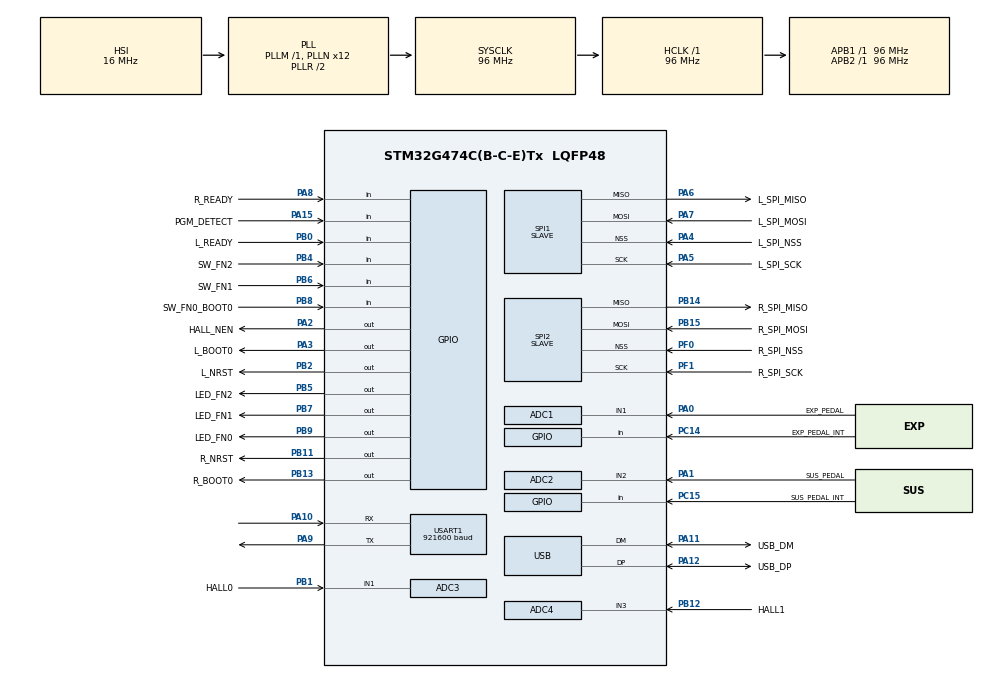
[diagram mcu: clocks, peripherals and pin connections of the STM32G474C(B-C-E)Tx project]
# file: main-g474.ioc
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ADC1.Channel-0\#ChannelRegularConversion=ADC_CHANNEL_1
ADC1.NbrOfConversionFlag=1
ADC1.OffsetNumber-0\#ChannelRegularConversion=ADC_OFFSET_NONE
ADC1.Rank-0\#ChannelRegularConversion=1
ADC1.SamplingTime-0\#ChannelRegularConversion=ADC_SAMPLETIME_2CYCLES_5
ADC1.master=1
ADC2.Channel-0\#ChannelRegularConversion=ADC_CHANNEL_2
ADC2.NbrOfConversionFlag=1
ADC2.OffsetNumber-0\#ChannelRegularConversion=ADC_OFFSET_NONE
ADC2.Rank-0\#ChannelRegularConversion=1
ADC2.SamplingTime-0\#ChannelRegularConversion=ADC_SAMPLETIME_2CYCLES_5
ADC3.Channel-0\#ChannelRegularConversion=ADC_CHANNEL_1
ADC3.NbrOfConversionFlag=1
ADC3.OffsetNumber-0\#ChannelRegularConversion=ADC_OFFSET_NONE
ADC3.Rank-0\#ChannelRegularConversion=1
ADC3.SamplingTime-0\#ChannelRegularConversion=ADC_SAMPLETIME_2CYCLES_5
ADC3.master=1
ADC4.Channel-0\#ChannelRegularConversion=ADC_CHANNEL_3
ADC4.NbrOfConversionFlag=1
ADC4.OffsetNumber-0\#ChannelRegularConversion=ADC_OFFSET_NONE
ADC4.Rank-0\#ChannelRegularConversion=1
ADC4.SamplingTime-0\#ChannelRegularConversion=ADC_SAMPLETIME_2CYCLES_5
Dma.Request0=SPI1_RX
Dma.Request1=SPI2_RX
Dma.SPI1_RX.0.Direction=DMA_PERIPH_TO_MEMORY
Dma.SPI1_RX.0.EventEnable=DISABLE
Dma.SPI1_RX.0.Instance=DMA1_Channel1
Dma.SPI1_RX.0.MemDataAlignment=DMA_MDATAALIGN_HALFWORD
Dma.SPI1_RX.0.MemInc=DMA_MINC_ENABLE
Dma.SPI1_RX.0.Mode=DMA_NORMAL
Dma.SPI1_RX.0.PeriphDataAlignment=DMA_PDATAALIGN_HALFWORD
Dma.SPI1_RX.0.PeriphInc=DMA_PINC_DISABLE
Dma.SPI1_RX.0.Polarity=HAL_DMAMUX_REQ_GEN_RISING
Dma.SPI1_RX.0.Priority=DMA_PRIORITY_LOW
Dma.SPI1_RX.0.RequestNumber=1
Dma.SPI1_RX.0.SignalID=NONE
Dma.SPI1_RX.0.SyncEnable=DISABLE
Dma.SPI1_RX.0.SyncPolarity=HAL_DMAMUX_SYNC_NO_EVENT
Dma.SPI1_RX.0.SyncRequestNumber=1
Dma.SPI1_RX.0.SyncSignalID=NONE
Dma.SPI2_RX.1.Direction=DMA_PERIPH_TO_MEMORY
Dma.SPI2_RX.1.EventEnable=DISABLE
Dma.SPI2_RX.1.Instance=DMA1_Channel2
Dma.SPI2_RX.1.MemDataAlignment=DMA_MDATAALIGN_HALFWORD
Dma.SPI2_RX.1.MemInc=DMA_MINC_ENABLE
Dma.SPI2_RX.1.Mode=DMA_NORMAL
Dma.SPI2_RX.1.PeriphDataAlignment=DMA_PDATAALIGN_HALFWORD
Dma.SPI2_RX.1.PeriphInc=DMA_PINC_DISABLE
Dma.SPI2_RX.1.Polarity=HAL_DMAMUX_REQ_GEN_RISING
Dma.SPI2_RX.1.Priority=DMA_PRIORITY_LOW
Dma.SPI2_RX.1.RequestNumber=1
Dma.SPI2_RX.1.SignalID=NONE
Dma.SPI2_RX.1.SyncEnable=DISABLE
Dma.SPI2_RX.1.SyncPolarity=HAL_DMAMUX_SYNC_NO_EVENT
Dma.SPI2_RX.1.SyncRequestNumber=1
Dma.SPI2_RX.1.SyncSignalID=NONE
Mcu.Family=STM32G4
Mcu.Name=STM32G474C(B-C-E)Tx
Mcu.Package=LQFP48
NVIC.DMA1_Channel1_IRQn=true\:0\:0\:false\:false\:true\:false\:true\:true
NVIC.DMA1_Channel2_IRQn=true\:0\:0\:false\:false\:true\:false\:true\:true
NVIC.PriorityGroup=NVIC_PRIORITYGROUP_4
NVIC.SPI1_IRQn=true\:0\:0\:false\:false\:true\:true\:true\:true
NVIC.SPI2_IRQn=true\:0\:0\:false\:false\:true\:true\:true\:true
NVIC.USART1_IRQn=true\:0\:0\:false\:false\:true\:true\:true\:true
PA0.GPIO_Label=EXP_PEDAL
PA0.Mode=IN1-Single-Ended
PA0.Signal=ADC1_IN1
PA1.GPIO_Label=SUS_PEDAL
PA1.Mode=IN2-Single-Ended
PA1.Signal=ADC2_IN2
PA10.Mode=Asynchronous
PA10.Signal=USART1_RX
PA11.GPIO_Label=USB_DM
PA11.Mode=Device
PA11.Signal=USB_DM
PA12.GPIO_Label=USB_DP
PA12.Mode=Device
PA12.Signal=USB_DP
PA13.Mode=Trace_Asynchronous_SW
PA13.Signal=SYS_JTMS-SWDIO
PA14.Mode=Trace_Asynchronous_SW
PA14.Signal=SYS_JTCK-SWCLK
PA15.GPIO_Label=PGM_DETECT
PA15.GPIO_PuPd=GPIO_PULLUP
PA15.Signal=GPIO_Input
PA2.GPIO_Label=HALL_NEN
PA2.GPIO_ModeDefaultOutputPP=GPIO_MODE_OUTPUT_OD
PA2.GPIO_PuPd=GPIO_NOPULL
PA2.PinState=GPIO_PIN_SET
PA2.Signal=GPIO_Output
PA3.GPIO_Label=L_BOOT0
PA3.GPIO_ModeDefaultOutputPP=GPIO_MODE_OUTPUT_PP
PA3.GPIO_PuPd=GPIO_NOPULL
PA3.Signal=GPIO_Output
PA4.GPIO_Label=L_SPI_NSS
PA4.GPIO_PuPd=GPIO_PULLUP
PA4.Mode=NSS_Signal_Hard_Input
PA4.Signal=SPI1_NSS
PA5.GPIO_Label=L_SPI_SCK
PA5.Mode=Full_Duplex_Slave
PA5.Signal=SPI1_SCK
PA6.GPIO_Label=L_SPI_MISO
PA6.GPIO_PuPd=GPIO_PULLUP
PA6.Mode=Full_Duplex_Slave
PA6.Signal=SPI1_MISO
PA7.GPIO_Label=L_SPI_MOSI
PA7.Mode=Full_Duplex_Slave
PA7.Signal=SPI1_MOSI
PA8.GPIO_Label=R_READY
PA8.GPIO_PuPd=GPIO_PULLDOWN
PA8.Signal=GPIO_Input
PA9.Mode=Asynchronous
PA9.Signal=USART1_TX
PB0.GPIO_Label=L_READY
PB0.GPIO_PuPd=GPIO_PULLDOWN
PB0.Signal=GPIO_Input
PB1.GPIO_Label=HALL0
PB1.Mode=IN1-Single-Ended
PB1.Signal=ADC3_IN1
PB11.GPIO_Label=R_NRST
PB11.GPIO_ModeDefaultOutputPP=GPIO_MODE_OUTPUT_OD
PB11.GPIO_PuPd=GPIO_NOPULL
PB11.PinState=GPIO_PIN_SET
PB11.Signal=GPIO_Output
PB12.GPIO_Label=HALL1
PB12.Mode=IN3-Single-Ended
PB12.Signal=ADC4_IN3
PB13.GPIO_Label=R_BOOT0
PB13.Signal=GPIO_Output
PB14.GPIO_Label=R_SPI_MISO
PB14.GPIO_PuPd=GPIO_PULLUP
PB14.Mode=Full_Duplex_Slave
PB14.Signal=SPI2_MISO
PB15.GPIO_Label=R_SPI_MOSI
PB15.GPIO_PuPd=GPIO_NOPULL
PB15.Mode=Full_Duplex_Slave
PB15.Signal=SPI2_MOSI
PB2.GPIO_Label=L_NRST
PB2.GPIO_ModeDefaultOutputPP=GPIO_MODE_OUTPUT_OD
PB2.GPIO_PuPd=GPIO_NOPULL
PB2.PinState=GPIO_PIN_SET
PB2.Signal=GPIO_Output
PB3.Mode=Trace_Asynchronous_SW
PB3.Signal=SYS_JTDO-SWO
PB4.GPIO_Label=SW_FN2
PB4.GPIO_PuPd=GPIO_PULLUP
PB4.Signal=GPIO_Input
PB5.GPIO_Label=LED_FN2
PB5.Signal=GPIO_Output
PB6.GPIO_Label=SW_FN1
PB6.GPIO_PuPd=GPIO_PULLUP
PB6.Signal=GPIO_Input
PB7.GPIO_Label=LED_FN1
PB7.Signal=GPIO_Output
PB8-BOOT0.GPIO_Label=SW_FN0_BOOT0
PB8-BOOT0.Signal=GPIO_Input
PB9.GPIO_Label=LED_FN0
PB9.Signal=GPIO_Output
PC14-OSC32_IN.GPIO_Label=EXP_PEDAL_INT
PC14-OSC32_IN.GPIO_PuPd=GPIO_PULLDOWN
PC14-OSC32_IN.Signal=GPIO_Input
PC15-OSC32_OUT.GPIO_Label=SUS_PEDAL_INT
PC15-OSC32_OUT.GPIO_PuPd=GPIO_PULLDOWN
PC15-OSC32_OUT.Signal=GPIO_Input
PF0-OSC_IN.GPIO_Label=R_SPI_NSS
PF0-OSC_IN.GPIO_PuPd=GPIO_PULLUP
PF0-OSC_IN.Mode=NSS_Signal_Hard_Input
PF0-OSC_IN.Signal=SPI2_NSS
PF1-OSC_OUT.GPIO_Label=R_SPI_SCK
PF1-OSC_OUT.Mode=Full_Duplex_Slave
PF1-OSC_OUT.Signal=SPI2_SCK
ProjectManager.HeapSize=0x200
ProjectManager.StackSize=0x400
ProjectManager.TargetToolchain=CMake
RCC.ADC12Freq_Value=96000000
RCC.ADC345Freq_Value=96000000
RCC.AHBFreq_Value=96000000
RCC.APB1Freq_Value=96000000
RCC.APB1TimFreq_Value=96000000
RCC.APB2Freq_Value=96000000
RCC.APB2TimFreq_Value=96000000
RCC.CK48CLockSelection=RCC_USBCLKSOURCE_HSI48
RCC.CortexFreq_Value=96000000
RCC.EXTERNAL_CLOCK_VALUE=12288000
RCC.HCLKFreq_Value=96000000
RCC.HSE_VALUE=8000000
RCC.HSI48_VALUE=48000000
RCC.HSI_VALUE=16000000
RCC.LSE_VALUE=32768
RCC.PLLN=12
RCC.PLLQ=RCC_PLLQ_DIV4
RCC.SYSCLKFreq_VALUE=96000000
RCC.SYSCLKSource=RCC_SYSCLKSOURCE_PLLCLK
RCC.USBFreq_Value=48000000
RCC.VCOOutputFreq_Value=192000000
SPI1.CRCCalculation=SPI_CRCCALCULATION_ENABLE
SPI1.CRCLength=SPI_CRC_LENGTH_16BIT
SPI1.CRCPolynomial=X0+X1+X2
SPI1.DataSize=SPI_DATASIZE_16BIT
SPI1.Direction=SPI_DIRECTION_2LINES
SPI1.Mode=SPI_MODE_SLAVE
SPI1.VirtualNSS=VM_NSSHARD
SPI1.VirtualType=VM_SLAVE
SPI2.CRCCalculation=SPI_CRCCALCULATION_ENABLE
SPI2.CRCLength=SPI_CRC_LENGTH_16BIT
SPI2.DataSize=SPI_DATASIZE_16BIT
SPI2.Direction=SPI_DIRECTION_2LINES
SPI2.Mode=SPI_MODE_SLAVE
SPI2.VirtualNSS=VM_NSSHARD
SPI2.VirtualType=VM_SLAVE
USART1.BaudRate=921600
USART1.VirtualMode-Asynchronous=VM_ASYNC
VP_RCC_VS_USB.Mode=USB_FS
VP_SYS_VS_DBSignals.Mode=DisableDeadBatterySignals
board=custom

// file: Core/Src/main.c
/* USER CODE BEGIN Header */
/**
  ******************************************************************************
  * @file           : main.c
  * @brief          : Main program body
  ******************************************************************************
  * @attention
  *
  * Copyright (c) 2026 STMicroelectronics.
  * All rights reserved.
  *
  * This software is licensed under terms that can be found in the LICENSE file
  * in the root directory of this software component.
  * If no LICENSE file comes with this software, it is provided AS-IS.
  *
  ******************************************************************************
  */
/* USER CODE END Header */
#include "main.h"

/* USER CODE BEGIN Includes */
#include <stdio.h>
#include <stdlib.h>
#include <string.h>
#include "console.h"
#include "usb_app.h"
#include "spi_link.h"
#include "keyboard/keyboard_layout.h"

/* USER CODE END Includes */

ADC_HandleTypeDef hadc1;
ADC_HandleTypeDef hadc2;
ADC_HandleTypeDef hadc3;
ADC_HandleTypeDef hadc4;

SPI_HandleTypeDef hspi1;
SPI_HandleTypeDef hspi2;
DMA_HandleTypeDef hdma_spi1_rx;
DMA_HandleTypeDef hdma_spi2_rx;

UART_HandleTypeDef huart1;

PCD_HandleTypeDef hpcd_USB_FS;

void SystemClock_Config(void);
static void MX_GPIO_Init(void);
static void MX_DMA_Init(void);
static void MX_ADC1_Init(void);
static void MX_ADC2_Init(void);
static void MX_ADC3_Init(void);
static void MX_ADC4_Init(void);
static void MX_SPI1_Init(void);
static void MX_SPI2_Init(void);
static void MX_USART1_UART_Init(void);
static void MX_USB_PCD_Init(void);

/* USER CODE BEGIN 0 */

static void delay_us(uint32_t us)
{
  uint32_t cycles = us * (SystemCoreClock / 1000000U);
  uint32_t start = DWT->CYCCNT;
  while ((DWT->CYCCNT - start) < cycles);
}

/* Sends a string over SWO ITM port 0; no-op if no debugger has enabled tracing */
static void swo_print(const char *s)
{
  while (*s)
  {
    if ((ITM->TCR & ITM_TCR_ITMENA_Msk) && (ITM->TER & (1UL << 0)))
    {
      while (ITM->PORT[0].u32 == 0);
      ITM->PORT[0].u8 = (uint8_t)*s;
    }
    s++;
  }
}

/* ===== Wing keyboard link (SPI slave) ===================================== *
 * Each wing streams a fixed SPI_LINK_FRAME_WORDS frame (see spi_link.h): word
 * 0 is the wing id, words 1.. are the raw hall measurement per key. SPI1 is
 * wired to the left wing, SPI2 to the right (L_SPI_ / R_SPI_ pins), but the
 * wing id in the frame is authoritative for note mapping. Reception is
 * DMA-driven (interrupt fallback), re-armed from the main loop on the NSS idle
 * gap (the only point that word-aligns); bad (CRC/overrun/misaligned) frames
 * are dropped and counted. */

/* Press/release hysteresis: a hall reading falls as a key is pressed and rises
 * back as it is released. release_threshold > press_threshold gives a dead band
 * so a key resting near the trip point doesn't chatter. */
#define KEYBOARD_PRESS_THRESHOLD   1900
#define KEYBOARD_RELEASE_THRESHOLD 2100

/* The bandoneon is bisonoric: each key sounds a different note on push vs pull.
 * g_bellows holds that direction and g_bellow_intensity (0..1024) how hard the
 * bellows is being pushed or pulled; both are derived from the combined hall
 * reading (hall0+hall1) by bellows_update() in the main loop. */
static bellows_t g_bellows = BELLOWS_NEUTRAL;
static uint16_t g_bellow_intensity = 0;

/* Combined-hall calibration: center is the at-rest reading, hard push/pull
 * the readings at full travel. The deadzone sets how far from center the
 * bellows must move to leave BELLOWS_NEUTRAL (no air moves there, so
 * note_table maps every key to NOTE_NONE). The hysteresis margin then has to
 * be given back before returning to NEUTRAL, so a bellows resting right at
 * the deadzone edge doesn't chatter between NEUTRAL and PUSH/PULL. */
#define BELLOWS_CENTER     3775
#define BELLOWS_DEADZONE   40
#define BELLOWS_HYSTERESIS 20
#define BELLOWS_HARD_PUSH  3400
#define BELLOWS_HARD_PULL  4200

/* Updates g_bellows/g_bellow_intensity from the combined hall reading.
 * In NEUTRAL, intensity is 0 and direction holds until the reading passes the
 * deadzone edge. In PUSH/PULL, intensity scales linearly from the deadzone
 * edge to the hard push/pull reading (clamped to 1024: 0 is barely moving
 * air, 1024 is full force), and direction holds until the reading comes back
 * past the deadzone edge by BELLOWS_HYSTERESIS. */
static void bellows_update(uint32_t hall_total)
{
  uint32_t push_edge = BELLOWS_CENTER - BELLOWS_DEADZONE;
  uint32_t pull_edge = BELLOWS_CENTER + BELLOWS_DEADZONE;

  switch (g_bellows)
  {
    case BELLOWS_PUSH:
      if (hall_total >= push_edge + BELLOWS_HYSTERESIS) g_bellows = BELLOWS_NEUTRAL;
      break;
    case BELLOWS_PULL:
      if (hall_total <= pull_edge - BELLOWS_HYSTERESIS) g_bellows = BELLOWS_NEUTRAL;
      break;
    default:
      if (hall_total < push_edge) g_bellows = BELLOWS_PUSH;
      else if (hall_total > pull_edge) g_bellows = BELLOWS_PULL;
      break;
  }

  if (g_bellows == BELLOWS_PUSH)
  {
    uint32_t span = push_edge - BELLOWS_HARD_PUSH;
    uint32_t d = hall_total < push_edge ? push_edge - hall_total : 0;
    g_bellow_intensity = (uint16_t)(d >= span ? 1024 : (d * 1024) / span);
  }
  else if (g_bellows == BELLOWS_PULL)
  {
    uint32_t span = BELLOWS_HARD_PULL - pull_edge;
    uint32_t d = hall_total > pull_edge ? hall_total - pull_edge : 0;
    g_bellow_intensity = (uint16_t)(d >= span ? 1024 : (d * 1024) / span);
  }
  else
  {
    g_bellow_intensity = 0;
  }
}

/* CC#11 (Expression) hysteresis, in the same 0..1024 units as
 * g_bellow_intensity: only resent once intensity has moved by at least this
 * much, so sensor noise doesn't flood the link with near-identical CCs. */
#define BELLOWS_CC_HYSTERESIS 64

/* Caps how often CC#11 is sent, independent of the hysteresis check, so a
 * fast-moving bellows can't flood the link beyond what a host needs. */
#define BELLOWS_CC_PERIOD_MS (1000 / 100) /* 100 Hz */

/* Sends CC#11 (Expression) from g_bellow_intensity, scaled to 0..127, when it
 * has moved by at least BELLOWS_CC_HYSTERESIS since the last send (or on the
 * first call) and at most every BELLOWS_CC_PERIOD_MS. Call once per main loop
 * iteration after bellows_update(). */
static void bellows_send_cc(void)
{
  static uint16_t last_intensity;
  static uint8_t have_last;
  static uint32_t last_tick;

  uint32_t now = HAL_GetTick();
  if (have_last && (now - last_tick) < BELLOWS_CC_PERIOD_MS) return;

  uint16_t intensity = g_bellow_intensity;
  uint16_t delta = intensity > last_intensity ? intensity - last_intensity : last_intensity - intensity;
  if (!have_last || delta >= BELLOWS_CC_HYSTERESIS)
  {
    last_intensity = intensity;
    last_tick = now;
    have_last = 1;
    usb_app_midi_control_change(11, (uint8_t)((intensity * 127) / 1024));
  }
}

typedef struct
{
  SPI_HandleTypeDef *hspi;
  const char *name;
  GPIO_TypeDef *nss_port;   /* NSS line, read to find the inter-frame gap */
  uint16_t nss_pin;

  /* Double buffer: the ISR fills rx[rx_active]; on completion it flips and
   * hands the finished buffer to the main loop via ready/ready_buf. */
  uint16_t rx[2][SPI_LINK_FRAME_WORDS];
  volatile uint8_t rx_active;
  volatile uint8_t ready;
  volatile uint8_t ready_buf;
  volatile uint8_t needs_resync;

  /* Per-reception outcome counters (updated in interrupt context). Every
   * reception is classified as exactly one of these, so
   * good + misaligned + crc_err + bus_err = total receptions:
   *   good       - completed and word 0 is a known wing id -> decoded
   *   misaligned - completed but word 0 is NOT a wing id (the 16-bit word
   *                boundaries don't line up with the wing's frame; the
   *                hardware CRC did not reject it) -> dropped
   *   crc_err    - HAL reported a CRC mismatch
   *   bus_err    - HAL reported overrun / mode / frame error */
  volatile uint32_t rx_good;
  volatile uint32_t rx_misaligned;
  volatile uint32_t crc_err;
  volatile uint32_t bus_err;
  volatile uint8_t  last_good_wing;  /* word 0 of the last good reception */
  volatile uint16_t last_bad_word0;  /* word 0 of the last misaligned reception */

  /* Per-key decode state (main-loop only). key_pressed tracks the physical
   * hall state; sounding_note is NOTE_NONE unless a NOTE ON has been sent for
   * that key without a matching NOTE OFF yet (key_pressed alone isn't enough
   * since a key can be held through a bellows direction change). */
  uint16_t key_min[SPI_LINK_NUM_KEYS];
  uint8_t  key_min_init;
  uint8_t  key_pressed[SPI_LINK_NUM_KEYS];
  uint8_t  sounding_note[SPI_LINK_NUM_KEYS];

  /* Snapshots for the 1 Hz rate report and the throttled error log. */
  uint32_t last_good, last_misaligned, last_crc, last_bus;
  uint32_t logged_crc, logged_bus, logged_misaligned, last_err_log_tick;
} spi_bus_t;

static spi_bus_t g_bus[2];

static spi_bus_t *bus_from_hspi(SPI_HandleTypeDef *hspi)
{
  if (hspi == &hspi1) return &g_bus[0];
  if (hspi == &hspi2) return &g_bus[1];
  return NULL;
}

/* Starts one frame reception. Uses RX DMA when the SPI has a linked DMA channel
 * (hdmarx), so the frame is stored without per-word CPU work and the link keeps
 * up at high SCK; falls back to interrupt mode if DMA isn't wired yet (e.g.
 * before the .ioc SPIx_RX DMA request is regenerated). The control flow is
 * identical either way: completion/CRC/overrun land in the same HAL callbacks. */
static HAL_StatusTypeDef bus_rearm(spi_bus_t *b)
{
  if (b->hspi->hdmarx != NULL)
    return HAL_SPI_Receive_DMA(b->hspi, (uint8_t *)b->rx[b->rx_active], SPI_LINK_FRAME_WORDS);
  return HAL_SPI_Receive_IT(b->hspi, (uint8_t *)b->rx[b->rx_active], SPI_LINK_FRAME_WORDS);
}

/* Completion and error callbacks never re-arm directly: re-arming the instant a
 * frame ends lands the next receive mid-stream (the wing is still finishing /
 * NSS hasn't returned high), so it comes back word-misaligned. Instead they
 * classify/count the reception and flag needs_resync; the main loop re-arms on
 * the next NSS idle gap, which is the only point that reliably word-aligns.
 *
 * RxCplt classifies here (not in the main loop) so every reception is counted
 * even when the loop is too slow to drain each one: a frame is "good" only if
 * word 0 is a known wing id, otherwise "misaligned" (dropped). Only good frames
 * are handed to the loop for decoding. */
void HAL_SPI_RxCpltCallback(SPI_HandleTypeDef *hspi)
{
  spi_bus_t *b = bus_from_hspi(hspi);
  if (!b) return;
  uint16_t w0 = b->rx[b->rx_active][0];
  if (wing_name((uint8_t)w0) != NULL)
  {
    b->rx_good++;
    b->last_good_wing = (uint8_t)w0;
    b->ready_buf = b->rx_active;
    b->ready = 1;
  }
  else
  {
    b->rx_misaligned++;
    b->last_bad_word0 = w0;
  }
  b->needs_resync = 1;
}

void HAL_SPI_ErrorCallback(SPI_HandleTypeDef *hspi)
{
  spi_bus_t *b = bus_from_hspi(hspi);
  if (!b) return;
  uint32_t ec = hspi->ErrorCode;
  hspi->ErrorCode = HAL_SPI_ERROR_NONE;
  if (ec == HAL_SPI_ERROR_CRC) b->crc_err++;
  else                         b->bus_err++;
  b->needs_resync = 1;
}

/* Sends NOTE ON for key k on wing_id using the current g_bellows mapping, if
 * it isn't already sounding and that mapping has a note (it doesn't in
 * BELLOWS_NEUTRAL, where no air moves). No-op otherwise. */
static void bus_note_on(spi_bus_t *b, uint8_t wing_id, int k)
{
  if (b->sounding_note[k] != NOTE_NONE) return;
  uint8_t note = note_table[wing_id][g_bellows][k];
  if (note == NOTE_NONE) return;
  b->sounding_note[k] = note;
  printf("NOTE ON  %s wing=%u key=%2d note=%3u\r\n", b->name, wing_id, k, note);
  usb_app_midi_note_on(note, 100);
}

/* Sends NOTE OFF for key k on wing_id if it is currently sounding. No-op
 * otherwise (e.g. the key was pressed/released while in BELLOWS_NEUTRAL and
 * never sounded). */
static void bus_note_off(spi_bus_t *b, uint8_t wing_id, int k)
{
  if (b->sounding_note[k] == NOTE_NONE) return;
  printf("NOTE OFF %s wing=%u key=%2d note=%3u\r\n", b->name, wing_id, k, b->sounding_note[k]);
  usb_app_midi_note_off(b->sounding_note[k]);
  b->sounding_note[k] = NOTE_NONE;
}

/* Called once from the main loop whenever g_bellows changes. Entering
 * PUSH/PULL from NEUTRAL fires NOTE ON for keys already held down; entering
 * NEUTRAL fires NOTE OFF for keys currently sounding, even if still held,
 * since no air moves at rest. PUSH<->PULL never happens directly (NEUTRAL
 * sits between them), so this never has to swap one sounding note for
 * another. */
static void bus_bellows_changed(spi_bus_t *b)
{
  uint8_t wing_id = b->last_good_wing;
  for (int k = 0; k < SPI_LINK_NUM_KEYS; k++)
  {
    if (g_bellows == BELLOWS_NEUTRAL) bus_note_off(b, wing_id, k);
    else if (b->key_pressed[k])       bus_note_on(b, wing_id, k);
  }
}

/* Decodes one received frame into key press/release events, driving NOTE
 * ON/OFF via bus_note_on/bus_note_off. Channels whose since-boot minimum is
 * still 0 are treated as unpopulated and skipped, matching the wing's
 * present-key detection. */
static void bus_process_frame(spi_bus_t *b, const uint16_t *frame)
{
  uint8_t wing_id = (uint8_t)frame[0];
  const uint16_t *meas = &frame[1];

  if (wing_name(wing_id) == NULL) return; /* unknown wing -> nothing to decode */

  for (int k = 0; k < SPI_LINK_NUM_KEYS; k++)
  {
    uint16_t v = meas[k];
    if (!b->key_min_init || v < b->key_min[k]) b->key_min[k] = v;
    if (b->key_min[k] == 0) continue;          /* unpopulated channel */

    if (!b->key_pressed[k] && v <= KEYBOARD_PRESS_THRESHOLD)
    {
      b->key_pressed[k] = 1;
      printf("PRESS %u %d\r\n", wing_id, k);
      bus_note_on(b, wing_id, k);
    }
    else if (b->key_pressed[k] && v >= KEYBOARD_RELEASE_THRESHOLD)
    {
      b->key_pressed[k] = 0;
      bus_note_off(b, wing_id, k);
    }
  }
  b->key_min_init = 1;
}

/* Decodes the latest good frame the ISR handed over (RxCplt only flags ready
 * for word-aligned frames with a valid wing id). */
static void bus_poll(spi_bus_t *b)
{
  if (!b->ready) return;
  uint8_t idx = b->ready_buf;
  b->ready = 0;
  uint16_t frame[SPI_LINK_FRAME_WORDS];
  memcpy(frame, b->rx[idx], sizeof(frame));
  bus_process_frame(b, frame);
}

/* Arms the next reception, aligned to a frame boundary. This is the only place
 * reception is (re)armed: after every completion/error the callbacks set
 * needs_resync and this runs from the main loop, arming only while NSS is idle
 * high (the inter-frame gap) so the transfer starts at word 0 of the next
 * frame. Throughput is therefore bounded by the loop rate, but every captured
 * frame is word-aligned. */
static void bus_service_resync(spi_bus_t *b)
{
  if (!b->needs_resync) return;
  if (HAL_GPIO_ReadPin(b->nss_port, b->nss_pin) == GPIO_PIN_RESET) return;

  /* Reset the slave's bit framing and CRC for the next frame. A fresh 16-bit
   * word count and SPI_RESET_CRC (which toggles CRCEN) only take effect across
   * an SPE off->on transition (RM0440). If SPE just stays on between frames the
   * slave free-runs its bit counter (frames come back bit-misaligned) and the
   * CRC never resets (so it can't reject them). Drop SPE and flush any stale RX
   * here; HAL_SPI_Receive_DMA turns SPE back on and resets the CRC. Safe because
   * needs_resync is only set once a transfer has ended (state READY, DMA idle). */
  __HAL_SPI_DISABLE(b->hspi);
  while (__HAL_SPI_GET_FLAG(b->hspi, SPI_FLAG_RXNE))
    (void)b->hspi->Instance->DR;
  __HAL_SPI_CLEAR_OVRFLAG(b->hspi);

  if (HAL_GPIO_ReadPin(b->nss_port, b->nss_pin) == GPIO_PIN_RESET) return;
  if (bus_rearm(b) == HAL_OK)
    b->needs_resync = 0;
}

/* Logs newly accumulated faults at most once per window, so a storm on a
 * misaligned/overrunning bus can't flood the console. "misaligned" means a
 * frame arrived whose word 0 wasn't a known wing id (1/2). */
#define SPI_ERR_LOG_THROTTLE_MS 500
static void bus_log_errors(spi_bus_t *b)
{
  uint32_t mis = b->rx_misaligned, crc = b->crc_err, bus = b->bus_err;
  uint32_t new_mis = mis - b->logged_misaligned;
  uint32_t new_crc = crc - b->logged_crc;
  uint32_t new_bus = bus - b->logged_bus;
  if (new_mis == 0 && new_crc == 0 && new_bus == 0) return;
  uint32_t now = HAL_GetTick();
  if (now - b->last_err_log_tick < SPI_ERR_LOG_THROTTLE_MS) return;
  b->last_err_log_tick = now;
  b->logged_misaligned = mis;
  b->logged_crc = crc;
  b->logged_bus = bus;
  printf("SPI %s: +%lu misaligned (last word0=%u, want wing id 1/2), +%lu crc-err, +%lu bus-err\r\n",
         b->name, (unsigned long)new_mis, (unsigned)b->last_bad_word0,
         (unsigned long)new_crc, (unsigned long)new_bus);
}

/* 1 Hz per-bus reception rates. good + misaligned + crc-err + bus-err = total
 * receptions; "good" are the only ones decoded into notes. */
static void bus_print_rates(spi_bus_t *b, uint32_t dt_ms)
{
  uint32_t good = b->rx_good, mis = b->rx_misaligned, crc = b->crc_err, bus = b->bus_err;
  uint32_t d_good = good - b->last_good;
  uint32_t d_mis  = mis  - b->last_misaligned;
  uint32_t d_crc  = crc  - b->last_crc;
  uint32_t d_bus  = bus  - b->last_bus;
  b->last_good = good;
  b->last_misaligned = mis;
  b->last_crc = crc;
  b->last_bus = bus;
  printf("%s: good: %lu/s, misaligned: %lu/s, crc-err: %lu/s, bus-err: %lu/s "
         "(last good wing=%u, last bad word0=%u)\r\n",
         b->name,
         (unsigned long)(d_good * 1000u / dt_ms),
         (unsigned long)(d_mis  * 1000u / dt_ms),
         (unsigned long)(d_crc  * 1000u / dt_ms),
         (unsigned long)(d_bus  * 1000u / dt_ms),
         b->last_good_wing, (unsigned)b->last_bad_word0);
}

static void spi_link_init(void)
{
  g_bus[0].hspi = &hspi1; g_bus[0].name = "SPI1/L";
  g_bus[0].nss_port = L_SPI_NSS_GPIO_Port; g_bus[0].nss_pin = L_SPI_NSS_Pin;
  g_bus[1].hspi = &hspi2; g_bus[1].name = "SPI2/R";
  g_bus[1].nss_port = R_SPI_NSS_GPIO_Port; g_bus[1].nss_pin = R_SPI_NSS_Pin;
  for (int i = 0; i < 2; i++)
  {
    g_bus[i].rx_active = 0;
    g_bus[i].needs_resync = 1;   /* armed by bus_service_resync() on the idle gap */
  }
}

int console_execute(int argc, const char * const *argv)
{
  if (argc == 0)
    return 0;
  if (strcmp(argv[0], "hello") == 0)
  {
    printf("Hello, Bandoneo!\r\n");
  }
  else if (strcmp(argv[0], "midi") == 0)
  {
    /* midi [note]: send a test note on/off pair over USB MIDI (default A4) */
    uint8_t note = (argc > 1) ? (uint8_t)atoi(argv[1]) : 69;
    usb_app_midi_test_note(note);
    printf("Sent MIDI note %u on/off\r\n", note);
  }
  else
    printf("Unknown command: %s\r\n", argv[0]);
  return 0;
}

/* USER CODE END 0 */

int main(void)
{

  /* MCU Configuration--------------------------------------------------------*/

  /* Reset of all peripherals, Initializes the Flash interface and the Systick. */
  HAL_Init();

  /* Configure the system clock */
  SystemClock_Config();

  /* Initialize all configured peripherals */
  MX_GPIO_Init();
  MX_DMA_Init();
  MX_ADC1_Init();
  MX_ADC2_Init();
  MX_ADC3_Init();
  MX_ADC4_Init();
  MX_SPI1_Init();
  MX_SPI2_Init();
  MX_USART1_UART_Init();
  MX_USB_PCD_Init();
  /* USER CODE BEGIN 2 */
  CoreDebug->DEMCR |= CoreDebug_DEMCR_TRCENA_Msk;
  DWT->CYCCNT = 0;
  DWT->CTRL  |= DWT_CTRL_CYCCNTENA_Msk;
  console_init(&huart1, USART1_IRQn);
  usb_app_init();
  spi_link_init();
  /* USER CODE END 2 */

  /* Infinite loop */
  /* USER CODE BEGIN WHILE */
  uint8_t fn_prev = 0xFF;
  uint8_t exp_present_prev = 0xFF, sus_present_prev = 0xFF;
  uint32_t exp_val_prev = 0xFFFF, sus_val_prev = 0xFFFF;
  uint32_t hall_total_prev = 0xFFFFFFFF;
  uint32_t last_rate_tick = HAL_GetTick();
  while (1)
  {
    /* USER CODE END WHILE */

    /* USER CODE BEGIN 3 */
    usb_app_task();

    // Hall sensors
    //
    HAL_GPIO_WritePin(HALL_NEN_GPIO_Port, HALL_NEN_Pin, GPIO_PIN_RESET);
    /* Settling budget: gate RC (R5||R6 * Ciss_Q1 = 909R * 130pF, 5t~600ns) +
     * VDDH caps (RDS_on_Q1 * (CP1+CP2) = ~120mO * 200nF, 5t~120ns) +
     * SC4015SO power-on start <1us (datasheet) => worst case <3us; 5us = ~1.7x margin. */
    delay_us(5);

    HAL_ADC_Start(&hadc3);
    HAL_ADC_Start(&hadc4);
    HAL_ADC_PollForConversion(&hadc3, 10);
    uint32_t hall0 = HAL_ADC_GetValue(&hadc3);
    HAL_ADC_PollForConversion(&hadc4, 10);
    uint32_t hall1 = HAL_ADC_GetValue(&hadc4);

    HAL_GPIO_WritePin(HALL_NEN_GPIO_Port, HALL_NEN_Pin, GPIO_PIN_SET);

    uint32_t hall_total = hall0 + hall1;
    bellows_t bellows_prev = g_bellows;
    bellows_update(hall_total);
    if (g_bellows != bellows_prev)
    {
      for (int i = 0; i < 2; i++)
        bus_bellows_changed(&g_bus[i]);
    }
    bellows_send_cc();
    uint32_t hall_total_delta = hall_total > hall_total_prev ? hall_total - hall_total_prev : hall_total_prev - hall_total;
    if (hall_total_delta > 16)
    {
      hall_total_prev = hall_total;
      printf("HALL0=%u HALL1=%u TOTAL=%u\r\n", (unsigned)hall0, (unsigned)hall1, (unsigned)hall_total);
    }

    /* Decode any wing frames received since the last iteration, recover any bus
     * that lost alignment, then surface link errors (throttled) and a 1 Hz
     * frame/error rate per bus. */
    for (int i = 0; i < 2; i++)
    {
      bus_poll(&g_bus[i]);
      bus_service_resync(&g_bus[i]);
      bus_log_errors(&g_bus[i]);
    }
    uint32_t rate_now = HAL_GetTick();
    uint32_t rate_dt = rate_now - last_rate_tick;
    if (rate_dt >= 1000)
    {
      last_rate_tick = rate_now;
      for (int i = 0; i < 2; i++)
        bus_print_rates(&g_bus[i], rate_dt);
    }

    uint8_t fn = 0;
    if (HAL_GPIO_ReadPin(SW_FN0_BOOT0_GPIO_Port, SW_FN0_BOOT0_Pin) == GPIO_PIN_RESET) fn |= 1;
    if (HAL_GPIO_ReadPin(SW_FN1_GPIO_Port,       SW_FN1_Pin)        == GPIO_PIN_RESET) fn |= 2;
    if (HAL_GPIO_ReadPin(SW_FN2_GPIO_Port,       SW_FN2_Pin)        == GPIO_PIN_RESET) fn |= 4;
    if (fn != fn_prev)
    {
      fn_prev = fn;
      printf("FN: %c%c%c\r\n",
             (fn & 1) ? '1' : '0',
             (fn & 2) ? '1' : '0',
             (fn & 4) ? '1' : '0');
    }

    uint8_t exp_present = HAL_GPIO_ReadPin(EXP_PEDAL_INT_GPIO_Port, EXP_PEDAL_INT_Pin) == GPIO_PIN_SET;
    uint8_t sus_present = HAL_GPIO_ReadPin(SUS_PEDAL_INT_GPIO_Port, SUS_PEDAL_INT_Pin) == GPIO_PIN_SET;

    HAL_ADC_Start(&hadc1);
    HAL_ADC_PollForConversion(&hadc1, 1);
    uint32_t exp_val = HAL_ADC_GetValue(&hadc1);

    HAL_ADC_Start(&hadc2);
    HAL_ADC_PollForConversion(&hadc2, 1);
    uint32_t sus_val = HAL_ADC_GetValue(&hadc2);

    uint32_t exp_delta = exp_val > exp_val_prev ? exp_val - exp_val_prev : exp_val_prev - exp_val;
    uint32_t sus_delta = sus_val > sus_val_prev ? sus_val - sus_val_prev : sus_val_prev - sus_val;

    if (exp_present != exp_present_prev || (!exp_present && exp_delta > 16))
    {
      exp_present_prev = exp_present;
      exp_val_prev = exp_val;
      printf("EXP present=%u val=%u\r\n", exp_present, (unsigned)exp_val);
    }
    if (sus_present != sus_present_prev || (!sus_present && sus_delta > 16))
    {
      sus_present_prev = sus_present;
      sus_val_prev = sus_val;
      printf("SUS: present=%u val=%u\r\n", sus_present, (unsigned)sus_val);
    }

  }
  /* USER CODE END 3 */
}

void SystemClock_Config(void)
{
  RCC_OscInitTypeDef RCC_OscInitStruct = {0};
  RCC_ClkInitTypeDef RCC_ClkInitStruct = {0};
  RCC_CRSInitTypeDef pInit = {0};

  /** Configure the main internal regulator output voltage
  */
  HAL_PWREx_ControlVoltageScaling(PWR_REGULATOR_VOLTAGE_SCALE1);

  /** Initializes the RCC Oscillators according to the specified parameters
  * in the RCC_OscInitTypeDef structure.
  */
  RCC_OscInitStruct.OscillatorType = RCC_OSCILLATORTYPE_HSI|RCC_OSCILLATORTYPE_HSI48;
  RCC_OscInitStruct.HSIState = RCC_HSI_ON;
  RCC_OscInitStruct.HSICalibrationValue = RCC_HSICALIBRATION_DEFAULT;
  RCC_OscInitStruct.HSI48State = RCC_HSI48_ON;
  RCC_OscInitStruct.PLL.PLLState = RCC_PLL_ON;
  RCC_OscInitStruct.PLL.PLLSource = RCC_PLLSOURCE_HSI;
  RCC_OscInitStruct.PLL.PLLM = RCC_PLLM_DIV1;
  RCC_OscInitStruct.PLL.PLLN = 12;
  RCC_OscInitStruct.PLL.PLLP = RCC_PLLP_DIV2;
  RCC_OscInitStruct.PLL.PLLQ = RCC_PLLQ_DIV4;
  RCC_OscInitStruct.PLL.PLLR = RCC_PLLR_DIV2;
  if (HAL_RCC_OscConfig(&RCC_OscInitStruct) != HAL_OK)
  {
    Error_Handler();
  }

  /** Initializes the CPU, AHB and APB buses clocks
  */
  RCC_ClkInitStruct.ClockType = RCC_CLOCKTYPE_HCLK|RCC_CLOCKTYPE_SYSCLK
                              |RCC_CLOCKTYPE_PCLK1|RCC_CLOCKTYPE_PCLK2;
  RCC_ClkInitStruct.SYSCLKSource = RCC_SYSCLKSOURCE_PLLCLK;
  RCC_ClkInitStruct.AHBCLKDivider = RCC_SYSCLK_DIV1;
  RCC_ClkInitStruct.APB1CLKDivider = RCC_HCLK_DIV1;
  RCC_ClkInitStruct.APB2CLKDivider = RCC_HCLK_DIV1;

  if (HAL_RCC_ClockConfig(&RCC_ClkInitStruct, FLASH_LATENCY_3) != HAL_OK)
  {
    Error_Handler();
  }

  /** Enable the SYSCFG APB clock
  */
  __HAL_RCC_CRS_CLK_ENABLE();

  /** Configures CRS
  */
  pInit.Prescaler = RCC_CRS_SYNC_DIV1;
  pInit.Source = RCC_CRS_SYNC_SOURCE_USB;
  pInit.Polarity = RCC_CRS_SYNC_POLARITY_RISING;
  pInit.ReloadValue = __HAL_RCC_CRS_RELOADVALUE_CALCULATE(48000000,1000);
  pInit.ErrorLimitValue = 34;
  pInit.HSI48CalibrationValue = 32;

  HAL_RCCEx_CRSConfig(&pInit);
}

static void MX_ADC1_Init(void)
{

  ADC_MultiModeTypeDef multimode = {0};
  ADC_ChannelConfTypeDef sConfig = {0};

  /** Common config
  */
  hadc1.Instance = ADC1;
  hadc1.Init.ClockPrescaler = ADC_CLOCK_SYNC_PCLK_DIV2;
  hadc1.Init.Resolution = ADC_RESOLUTION_12B;
  hadc1.Init.DataAlign = ADC_DATAALIGN_RIGHT;
  hadc1.Init.GainCompensation = 0;
  hadc1.Init.ScanConvMode = ADC_SCAN_DISABLE;
  hadc1.Init.EOCSelection = ADC_EOC_SINGLE_CONV;
  hadc1.Init.LowPowerAutoWait = DISABLE;
  hadc1.Init.ContinuousConvMode = DISABLE;
  hadc1.Init.NbrOfConversion = 1;
  hadc1.Init.DiscontinuousConvMode = DISABLE;
  hadc1.Init.ExternalTrigConv = ADC_SOFTWARE_START;
  hadc1.Init.ExternalTrigConvEdge = ADC_EXTERNALTRIGCONVEDGE_NONE;
  hadc1.Init.DMAContinuousRequests = DISABLE;
  hadc1.Init.Overrun = ADC_OVR_DATA_PRESERVED;
  hadc1.Init.OversamplingMode = DISABLE;
  if (HAL_ADC_Init(&hadc1) != HAL_OK)
  {
    Error_Handler();
  }

  /** Configure the ADC multi-mode
  */
  multimode.Mode = ADC_MODE_INDEPENDENT;
  if (HAL_ADCEx_MultiModeConfigChannel(&hadc1, &multimode) != HAL_OK)
  {
    Error_Handler();
  }

  /** Configure Regular Channel
  */
  sConfig.Channel = ADC_CHANNEL_1;
  sConfig.Rank = ADC_REGULAR_RANK_1;
  sConfig.SamplingTime = ADC_SAMPLETIME_2CYCLES_5;
  sConfig.SingleDiff = ADC_SINGLE_ENDED;
  sConfig.OffsetNumber = ADC_OFFSET_NONE;
  sConfig.Offset = 0;
  if (HAL_ADC_ConfigChannel(&hadc1, &sConfig) != HAL_OK)
  {
    Error_Handler();
  }

}

static void MX_ADC2_Init(void)
{

  ADC_ChannelConfTypeDef sConfig = {0};

  /** Common config
  */
  hadc2.Instance = ADC2;
  hadc2.Init.ClockPrescaler = ADC_CLOCK_SYNC_PCLK_DIV2;
  hadc2.Init.Resolution = ADC_RESOLUTION_12B;
  hadc2.Init.DataAlign = ADC_DATAALIGN_RIGHT;
  hadc2.Init.GainCompensation = 0;
  hadc2.Init.ScanConvMode = ADC_SCAN_DISABLE;
  hadc2.Init.EOCSelection = ADC_EOC_SINGLE_CONV;
  hadc2.Init.LowPowerAutoWait = DISABLE;
  hadc2.Init.ContinuousConvMode = DISABLE;
  hadc2.Init.NbrOfConversion = 1;
  hadc2.Init.DiscontinuousConvMode = DISABLE;
  hadc2.Init.ExternalTrigConv = ADC_SOFTWARE_START;
  hadc2.Init.ExternalTrigConvEdge = ADC_EXTERNALTRIGCONVEDGE_NONE;
  hadc2.Init.DMAContinuousRequests = DISABLE;
  hadc2.Init.Overrun = ADC_OVR_DATA_PRESERVED;
  hadc2.Init.OversamplingMode = DISABLE;
  if (HAL_ADC_Init(&hadc2) != HAL_OK)
  {
    Error_Handler();
  }

  /** Configure Regular Channel
  */
  sConfig.Channel = ADC_CHANNEL_2;
  sConfig.Rank = ADC_REGULAR_RANK_1;
  sConfig.SamplingTime = ADC_SAMPLETIME_2CYCLES_5;
  sConfig.SingleDiff = ADC_SINGLE_ENDED;
  sConfig.OffsetNumber = ADC_OFFSET_NONE;
  sConfig.Offset = 0;
  if (HAL_ADC_ConfigChannel(&hadc2, &sConfig) != HAL_OK)
  {
    Error_Handler();
  }

}

static void MX_ADC3_Init(void)
{

  ADC_MultiModeTypeDef multimode = {0};
  ADC_ChannelConfTypeDef sConfig = {0};

  /** Common config
  */
  hadc3.Instance = ADC3;
  hadc3.Init.ClockPrescaler = ADC_CLOCK_SYNC_PCLK_DIV2;
  hadc3.Init.Resolution = ADC_RESOLUTION_12B;
  hadc3.Init.DataAlign = ADC_DATAALIGN_RIGHT;
  hadc3.Init.GainCompensation = 0;
  hadc3.Init.ScanConvMode = ADC_SCAN_DISABLE;
  hadc3.Init.EOCSelection = ADC_EOC_SINGLE_CONV;
  hadc3.Init.LowPowerAutoWait = DISABLE;
  hadc3.Init.ContinuousConvMode = DISABLE;
  hadc3.Init.NbrOfConversion = 1;
  hadc3.Init.DiscontinuousConvMode = DISABLE;
  hadc3.Init.ExternalTrigConv = ADC_SOFTWARE_START;
  hadc3.Init.ExternalTrigConvEdge = ADC_EXTERNALTRIGCONVEDGE_NONE;
  hadc3.Init.DMAContinuousRequests = DISABLE;
  hadc3.Init.Overrun = ADC_OVR_DATA_PRESERVED;
  hadc3.Init.OversamplingMode = DISABLE;
  if (HAL_ADC_Init(&hadc3) != HAL_OK)
  {
    Error_Handler();
  }

  /** Configure the ADC multi-mode
  */
  multimode.Mode = ADC_MODE_INDEPENDENT;
  if (HAL_ADCEx_MultiModeConfigChannel(&hadc3, &multimode) != HAL_OK)
  {
    Error_Handler();
  }

  /** Configure Regular Channel
  */
  sConfig.Channel = ADC_CHANNEL_1;
  sConfig.Rank = ADC_REGULAR_RANK_1;
  sConfig.SamplingTime = ADC_SAMPLETIME_2CYCLES_5;
  sConfig.SingleDiff = ADC_SINGLE_ENDED;
  sConfig.OffsetNumber = ADC_OFFSET_NONE;
  sConfig.Offset = 0;
  if (HAL_ADC_ConfigChannel(&hadc3, &sConfig) != HAL_OK)
  {
    Error_Handler();
  }

}

static void MX_ADC4_Init(void)
{

  ADC_ChannelConfTypeDef sConfig = {0};

  /** Common config
  */
  hadc4.Instance = ADC4;
  hadc4.Init.ClockPrescaler = ADC_CLOCK_SYNC_PCLK_DIV2;
  hadc4.Init.Resolution = ADC_RESOLUTION_12B;
  hadc4.Init.DataAlign = ADC_DATAALIGN_RIGHT;
  hadc4.Init.GainCompensation = 0;
  hadc4.Init.ScanConvMode = ADC_SCAN_DISABLE;
  hadc4.Init.EOCSelection = ADC_EOC_SINGLE_CONV;
  hadc4.Init.LowPowerAutoWait = DISABLE;
  hadc4.Init.ContinuousConvMode = DISABLE;
  hadc4.Init.NbrOfConversion = 1;
  hadc4.Init.DiscontinuousConvMode = DISABLE;
  hadc4.Init.ExternalTrigConv = ADC_SOFTWARE_START;
  hadc4.Init.ExternalTrigConvEdge = ADC_EXTERNALTRIGCONVEDGE_NONE;
  hadc4.Init.DMAContinuousRequests = DISABLE;
  hadc4.Init.Overrun = ADC_OVR_DATA_PRESERVED;
  hadc4.Init.OversamplingMode = DISABLE;
  if (HAL_ADC_Init(&hadc4) != HAL_OK)
  {
    Error_Handler();
  }

  /** Configure Regular Channel
  */
  sConfig.Channel = ADC_CHANNEL_3;
  sConfig.Rank = ADC_REGULAR_RANK_1;
  sConfig.SamplingTime = ADC_SAMPLETIME_2CYCLES_5;
  sConfig.SingleDiff = ADC_SINGLE_ENDED;
  sConfig.OffsetNumber = ADC_OFFSET_NONE;
  sConfig.Offset = 0;
  if (HAL_ADC_ConfigChannel(&hadc4, &sConfig) != HAL_OK)
  {
    Error_Handler();
  }

}

static void MX_SPI1_Init(void)
{

  /* SPI1 parameter configuration*/
  hspi1.Instance = SPI1;
  hspi1.Init.Mode = SPI_MODE_SLAVE;
  hspi1.Init.Direction = SPI_DIRECTION_2LINES;
  hspi1.Init.DataSize = SPI_DATASIZE_16BIT;
  hspi1.Init.CLKPolarity = SPI_POLARITY_LOW;
  hspi1.Init.CLKPhase = SPI_PHASE_1EDGE;
  hspi1.Init.NSS = SPI_NSS_HARD_INPUT;
  hspi1.Init.FirstBit = SPI_FIRSTBIT_MSB;
  hspi1.Init.TIMode = SPI_TIMODE_DISABLE;
  hspi1.Init.CRCCalculation = SPI_CRCCALCULATION_ENABLE;
  hspi1.Init.CRCPolynomial = 7;
  hspi1.Init.CRCLength = SPI_CRC_LENGTH_16BIT;
  hspi1.Init.NSSPMode = SPI_NSS_PULSE_DISABLE;
  if (HAL_SPI_Init(&hspi1) != HAL_OK)
  {
    Error_Handler();
  }

}

static void MX_SPI2_Init(void)
{

  /* SPI2 parameter configuration*/
  hspi2.Instance = SPI2;
  hspi2.Init.Mode = SPI_MODE_SLAVE;
  hspi2.Init.Direction = SPI_DIRECTION_2LINES;
  hspi2.Init.DataSize = SPI_DATASIZE_16BIT;
  hspi2.Init.CLKPolarity = SPI_POLARITY_LOW;
  hspi2.Init.CLKPhase = SPI_PHASE_1EDGE;
  hspi2.Init.NSS = SPI_NSS_HARD_INPUT;
  hspi2.Init.FirstBit = SPI_FIRSTBIT_MSB;
  hspi2.Init.TIMode = SPI_TIMODE_DISABLE;
  hspi2.Init.CRCCalculation = SPI_CRCCALCULATION_ENABLE;
  hspi2.Init.CRCPolynomial = 7;
  hspi2.Init.CRCLength = SPI_CRC_LENGTH_16BIT;
  hspi2.Init.NSSPMode = SPI_NSS_PULSE_DISABLE;
  if (HAL_SPI_Init(&hspi2) != HAL_OK)
  {
    Error_Handler();
  }

}

static void MX_USART1_UART_Init(void)
{

  huart1.Instance = USART1;
  huart1.Init.BaudRate = 921600;
  huart1.Init.WordLength = UART_WORDLENGTH_8B;
  huart1.Init.StopBits = UART_STOPBITS_1;
  huart1.Init.Parity = UART_PARITY_NONE;
  huart1.Init.Mode = UART_MODE_TX_RX;
  huart1.Init.HwFlowCtl = UART_HWCONTROL_NONE;
  huart1.Init.OverSampling = UART_OVERSAMPLING_16;
  huart1.Init.OneBitSampling = UART_ONE_BIT_SAMPLE_DISABLE;
  huart1.Init.ClockPrescaler = UART_PRESCALER_DIV1;
  huart1.AdvancedInit.AdvFeatureInit = UART_ADVFEATURE_NO_INIT;
  if (HAL_UART_Init(&huart1) != HAL_OK)
  {
    Error_Handler();
  }
  if (HAL_UARTEx_SetTxFifoThreshold(&huart1, UART_TXFIFO_THRESHOLD_1_8) != HAL_OK)
  {
    Error_Handler();
  }
  if (HAL_UARTEx_SetRxFifoThreshold(&huart1, UART_RXFIFO_THRESHOLD_1_8) != HAL_OK)
  {
    Error_Handler();
  }
  if (HAL_UARTEx_DisableFifoMode(&huart1) != HAL_OK)
  {
    Error_Handler();
  }

}

static void MX_USB_PCD_Init(void)
{

  hpcd_USB_FS.Instance = USB;
  hpcd_USB_FS.Init.dev_endpoints = 8;
  hpcd_USB_FS.Init.speed = PCD_SPEED_FULL;
  hpcd_USB_FS.Init.phy_itface = PCD_PHY_EMBEDDED;
  hpcd_USB_FS.Init.Sof_enable = DISABLE;
  hpcd_USB_FS.Init.low_power_enable = DISABLE;
  hpcd_USB_FS.Init.lpm_enable = DISABLE;
  hpcd_USB_FS.Init.battery_charging_enable = DISABLE;
  if (HAL_PCD_Init(&hpcd_USB_FS) != HAL_OK)
  {
    Error_Handler();
  }

}

static void MX_DMA_Init(void)
{

  /* DMA controller clock enable */
  __HAL_RCC_DMAMUX1_CLK_ENABLE();
  __HAL_RCC_DMA1_CLK_ENABLE();

  /* DMA interrupt init */
  /* DMA1_Channel1_IRQn interrupt configuration */
  HAL_NVIC_SetPriority(DMA1_Channel1_IRQn, 0, 0);
  HAL_NVIC_EnableIRQ(DMA1_Channel1_IRQn);
  /* DMA1_Channel2_IRQn interrupt configuration */
  HAL_NVIC_SetPriority(DMA1_Channel2_IRQn, 0, 0);
  HAL_NVIC_EnableIRQ(DMA1_Channel2_IRQn);

}

static void MX_GPIO_Init(void)
{
  GPIO_InitTypeDef GPIO_InitStruct = {0};

  /* GPIO Ports Clock Enable */
  __HAL_RCC_GPIOC_CLK_ENABLE();
  __HAL_RCC_GPIOF_CLK_ENABLE();
  __HAL_RCC_GPIOA_CLK_ENABLE();
  __HAL_RCC_GPIOB_CLK_ENABLE();

  /*Configure GPIO pin Output Level */
  HAL_GPIO_WritePin(HALL_NEN_GPIO_Port, HALL_NEN_Pin, GPIO_PIN_SET);

  /*Configure GPIO pin Output Level */
  HAL_GPIO_WritePin(L_BOOT0_GPIO_Port, L_BOOT0_Pin, GPIO_PIN_RESET);

  /*Configure GPIO pin Output Level */
  HAL_GPIO_WritePin(GPIOB, L_NRST_Pin|R_NRST_Pin, GPIO_PIN_SET);

  /*Configure GPIO pin Output Level */
  HAL_GPIO_WritePin(GPIOB, R_BOOT0_Pin|LED_FN2_Pin|LED_FN1_Pin|LED_FN0_Pin, GPIO_PIN_RESET);

  /*Configure GPIO pins : EXP_PEDAL_INT_Pin SUS_PEDAL_INT_Pin */
  GPIO_InitStruct.Pin = EXP_PEDAL_INT_Pin|SUS_PEDAL_INT_Pin;
  GPIO_InitStruct.Mode = GPIO_MODE_INPUT;
  GPIO_InitStruct.Pull = GPIO_PULLDOWN;
  HAL_GPIO_Init(GPIOC, &GPIO_InitStruct);

  /*Configure GPIO pin : HALL_NEN_Pin */
  GPIO_InitStruct.Pin = HALL_NEN_Pin;
  GPIO_InitStruct.Mode = GPIO_MODE_OUTPUT_OD;
  GPIO_InitStruct.Pull = GPIO_NOPULL;
  GPIO_InitStruct.Speed = GPIO_SPEED_FREQ_LOW;
  HAL_GPIO_Init(HALL_NEN_GPIO_Port, &GPIO_InitStruct);

  /*Configure GPIO pin : L_BOOT0_Pin */
  GPIO_InitStruct.Pin = L_BOOT0_Pin;
  GPIO_InitStruct.Mode = GPIO_MODE_OUTPUT_PP;
  GPIO_InitStruct.Pull = GPIO_NOPULL;
  GPIO_InitStruct.Speed = GPIO_SPEED_FREQ_LOW;
  HAL_GPIO_Init(L_BOOT0_GPIO_Port, &GPIO_InitStruct);

  /*Configure GPIO pin : L_READY_Pin */
  GPIO_InitStruct.Pin = L_READY_Pin;
  GPIO_InitStruct.Mode = GPIO_MODE_INPUT;
  GPIO_InitStruct.Pull = GPIO_PULLDOWN;
  HAL_GPIO_Init(L_READY_GPIO_Port, &GPIO_InitStruct);

  /*Configure GPIO pins : L_NRST_Pin R_NRST_Pin */
  GPIO_InitStruct.Pin = L_NRST_Pin|R_NRST_Pin;
  GPIO_InitStruct.Mode = GPIO_MODE_OUTPUT_OD;
  GPIO_InitStruct.Pull = GPIO_NOPULL;
  GPIO_InitStruct.Speed = GPIO_SPEED_FREQ_LOW;
  HAL_GPIO_Init(GPIOB, &GPIO_InitStruct);

  /*Configure GPIO pins : R_BOOT0_Pin LED_FN2_Pin LED_FN1_Pin LED_FN0_Pin */
  GPIO_InitStruct.Pin = R_BOOT0_Pin|LED_FN2_Pin|LED_FN1_Pin|LED_FN0_Pin;
  GPIO_InitStruct.Mode = GPIO_MODE_OUTPUT_PP;
  GPIO_InitStruct.Pull = GPIO_NOPULL;
  GPIO_InitStruct.Speed = GPIO_SPEED_FREQ_LOW;
  HAL_GPIO_Init(GPIOB, &GPIO_InitStruct);

  /*Configure GPIO pin : R_READY_Pin */
  GPIO_InitStruct.Pin = R_READY_Pin;
  GPIO_InitStruct.Mode = GPIO_MODE_INPUT;
  GPIO_InitStruct.Pull = GPIO_PULLDOWN;
  HAL_GPIO_Init(R_READY_GPIO_Port, &GPIO_InitStruct);

  /*Configure GPIO pin : PGM_DETECT_Pin */
  GPIO_InitStruct.Pin = PGM_DETECT_Pin;
  GPIO_InitStruct.Mode = GPIO_MODE_INPUT;
  GPIO_InitStruct.Pull = GPIO_PULLUP;
  HAL_GPIO_Init(PGM_DETECT_GPIO_Port, &GPIO_InitStruct);

  /*Configure GPIO pins : SW_FN2_Pin SW_FN1_Pin */
  GPIO_InitStruct.Pin = SW_FN2_Pin|SW_FN1_Pin;
  GPIO_InitStruct.Mode = GPIO_MODE_INPUT;
  GPIO_InitStruct.Pull = GPIO_PULLUP;
  HAL_GPIO_Init(GPIOB, &GPIO_InitStruct);

  /*Configure GPIO pin : SW_FN0_BOOT0_Pin */
  GPIO_InitStruct.Pin = SW_FN0_BOOT0_Pin;
  GPIO_InitStruct.Mode = GPIO_MODE_INPUT;
  GPIO_InitStruct.Pull = GPIO_NOPULL;
  HAL_GPIO_Init(SW_FN0_BOOT0_GPIO_Port, &GPIO_InitStruct);

}

void Error_Handler(void)
{
  __disable_irq();
  while (1)
  {
  }
}
